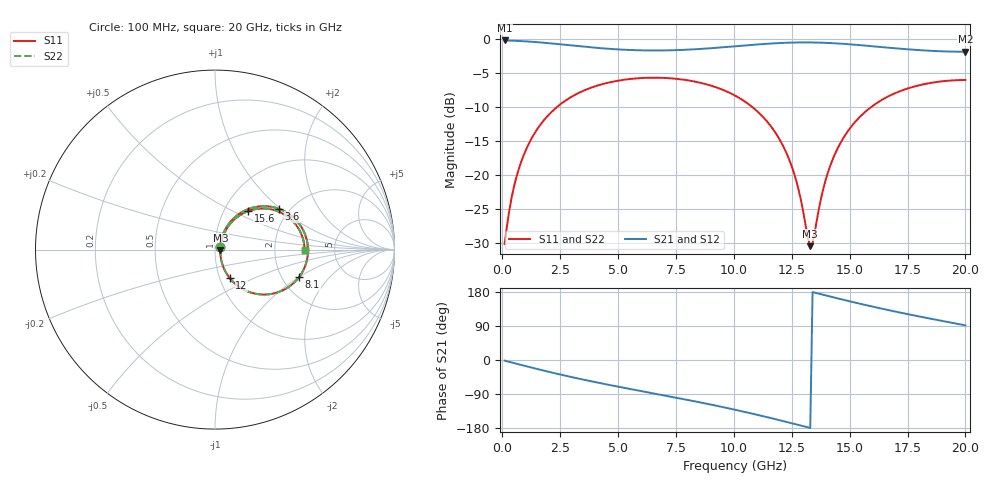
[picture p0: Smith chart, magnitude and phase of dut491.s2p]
! Touchstone file exported from HFSS 2026.1.0
!  File:  C:/ffzhzh/LocalFiles/Ansys_Project_Files/temp_train_TSV_RDL_491_1783105964_46604.aedt
!  Generated:  03:25:39 AM Jul  4, 2026
!  Design:  TSV_RDL
!  Project:  temp_train_TSV_RDL_491_1783105964_46604
! Variables:
!  h_bsmrdl = 2.65um
!  h_ox = 20um
!  h_rdl = 5um
!  h_sub = 99.74um
!  h_tmrdl = 4.95um
!  h_tsv = 99.74um
!  h_via = 3um
!  l_bsmrdl = 147.43um
!  l_sub = 4405.72um
!  l_tmrdl = 868.17um
!  m_sub = 200um
!  pitch = 35.82um
!  r_tsv = 3.27um
!  s_tmrdl = 10um
!  w_bsmrdl = 14.07um
!  w_sub = 500um
!  w_tmrdl = 16.18um
!  x_tsv_center1 = 876.26um
!  x_tsv_center2 = 1037.76um
!  x_tsv_center3 = 1922.11um
!  x_tsv_center4 = 2083.61um
!  x_tsv_center5 = 2967.96um
!  x_tsv_center6 = 3129.46um
# GHz S MA R 50.000000
! Terminal data exported
! Port[1] = TM_RDL1_1_T1
! Port[2] = TM_RDL5_1_T1
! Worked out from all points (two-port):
!   200 points, 100 MHz to 20 GHz, reference 50 ohm
!   highest |S21| = -0.24 dB at 100 MHz (marker M1); lowest = -1.9 dB at 20 GHz (marker M2)
!   |S21| within 3 dB of the highest: start of sweep to end of sweep
!   lowest |S11| = -30.5 dB at 13.3 GHz (marker M3), VSWR 1.06, Z = 53.1 - j0.416 ohm
!   |S11| at or under -10 dB: start of sweep to 2.367 GHz; 10.79 GHz to 15.94 GHz (5.146 GHz wide, 38.5 % of centre)
!   |S22| runs from -30.5 to -5.7 dB; largest |S21 - S12| = 1.7e-14
!   S11 on the Smith chart (normalised r, x): 100 MHz: 1.06, +0.03; 3.6 GHz: 1.76, +0.97; 8.1 GHz: 2.48, -1.00; 12 GHz: 1.12, -0.37; 15.6 GHz: 1.30, +0.60; 20 GHz: 2.99, -0.01
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0.1  0.03107 29.4  0.9733 -1.7  0.9733 -1.7  0.03107 29.4
! Gamma 0 0 0 0
! Port Impedance 50 0 50 0
0.5  0.08139 61.0  0.9681 -8.1  0.9681 -8.1  0.08139 61.0
1.2  0.177 61.0  0.9541 -19.1  0.9541 -19.1  0.177 61.0
2.2  0.2985 49.9  0.9228 -34.0  0.9228 -34.0  0.2985 49.9
3.5  0.4153 33.8  0.8767 -51.8  0.8767 -51.8  0.4153 33.8
3.6  0.4223 32.6  0.8734 -53.1  0.8734 -53.1  0.4223 32.6
5.2  0.4991 14.0  0.833 -72.7  0.833 -72.7  0.4991 14.0
6.8  0.5178 -3.6  0.8215 -91.3  0.8215 -91.3  0.5178 -3.6
8.1  0.4932 -18.0  0.8343 -106.5  0.8343 -106.5  0.4931 -18.0
10.1  0.3792 -41.3  0.8833 -131.9  0.8833 -131.9  0.3792 -41.3
11.2  0.2734 -54.4  0.9144 -147.4  0.9144 -147.4  0.2734 -54.4
12  0.1793 -62.6  0.9319 -159.2  0.9319 -159.2  0.1793 -62.6
12.7  0.09006 -63.2  0.9404 -170.0  0.9404 -170.0  0.09006 -63.2
13.3  0.02999 -7.5  0.9412 -179.3  0.9412 -179.3  0.02999 -7.5
13.4  0.03165 16.5  0.9407 179.2  0.9407 179.2  0.03165 16.5
13.8  0.07142 56.3  0.9371 173.0  0.9371 173.0  0.07142 56.3
14.2  0.1216 60.9  0.9309 166.9  0.9309 166.9  0.1216 60.9
14.8  0.1953 57.6  0.9176 157.9  0.9176 157.9  0.1953 57.6
15.6  0.2835 49.2  0.8947 146.3  0.8947 146.3  0.2835 49.2
16.7  0.3801 36.4  0.8604 131.3  0.8604 131.3  0.3801 36.4
18.4  0.4713 17.2  0.8186 110.1  0.8186 110.1  0.4713 17.2
20  0.4988 -0.1  0.8038 91.4  0.8038 91.4  0.4988 -0.1
